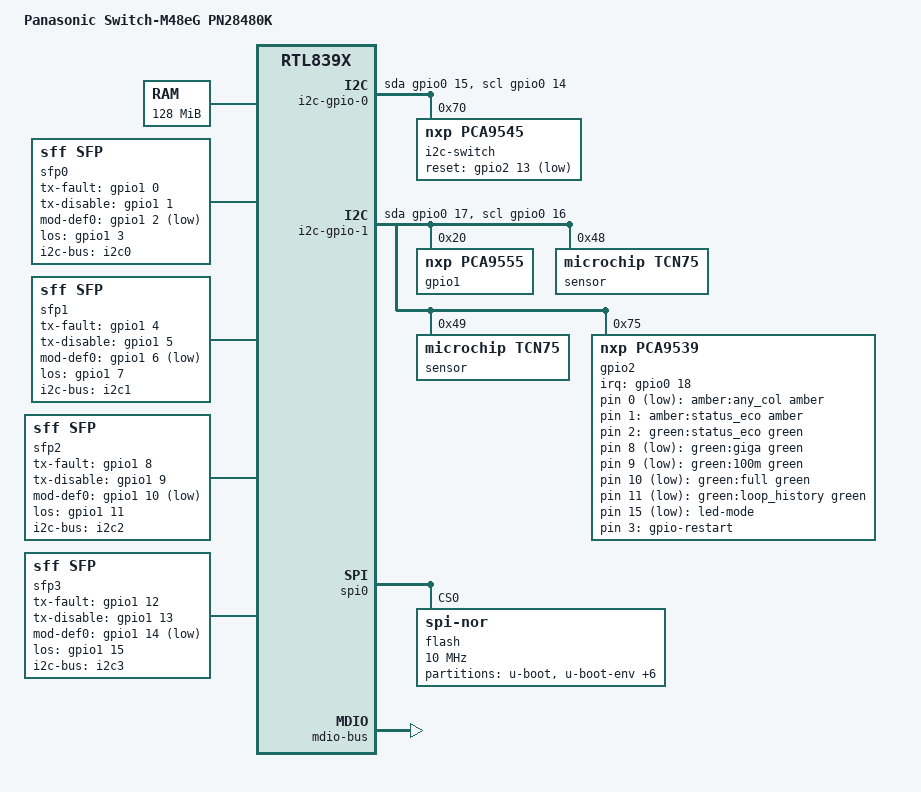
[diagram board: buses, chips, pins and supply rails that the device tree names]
// SPDX-License-Identifier: GPL-2.0-or-later OR MIT

#include "rtl839x.dtsi"

#include <dt-bindings/input/input.h>
#include <dt-bindings/gpio/gpio.h>
#include <dt-bindings/interrupt-controller/irq.h>
#include <dt-bindings/leds/common.h>

/ {
	compatible = "panasonic,m48eg-pn28480k", "realtek,rtl839x-soc";
	model = "Panasonic Switch-M48eG PN28480K";

	aliases {
		led-boot = &led_status_eco_green;
		led-failsafe = &led_status_eco_amber;
		led-running = &led_status_eco_green;
		led-upgrade = &led_status_eco_green;
	};

	chosen {
		bootargs = "console=ttyS0,9600";
	};

	memory@0 {
		device_type = "memory";
		reg = <0x0 0x8000000>;
	};

	leds {
		compatible = "gpio-leds";

		led-0 {
			label = "amber:any_col";
			gpios = <&gpio2 0 GPIO_ACTIVE_LOW>;
			color = <LED_COLOR_ID_AMBER>;
			function = LED_FUNCTION_FAULT;
		};

		led_status_eco_amber: led-1 {
			label = "amber:status_eco";
			gpios = <&gpio2 1 GPIO_ACTIVE_HIGH>;
			color = <LED_COLOR_ID_AMBER>;
			function = LED_FUNCTION_STATUS;
			function-enumerator = <1>;
		};

		led_status_eco_green: led-2 {
			label = "green:status_eco";
			gpios = <&gpio2 2 GPIO_ACTIVE_HIGH>;
			color = <LED_COLOR_ID_GREEN>;
			function = LED_FUNCTION_STATUS;
			function-enumerator = <2>;
		};

		led-3 {
			label = "green:giga";
			gpios = <&gpio2 8 GPIO_ACTIVE_LOW>;
			color = <LED_COLOR_ID_GREEN>;
			function = LED_FUNCTION_INDICATOR;
			function-enumerator = <1>;
		};

		led-4 {
			label = "green:100m";
			gpios = <&gpio2 9 GPIO_ACTIVE_LOW>;
			color = <LED_COLOR_ID_GREEN>;
			function = LED_FUNCTION_INDICATOR;
			function-enumerator = <2>;
		};

		led-5 {
			label = "green:full";
			gpios = <&gpio2 10 GPIO_ACTIVE_LOW>;
			color = <LED_COLOR_ID_GREEN>;
			function = LED_FUNCTION_INDICATOR;
			function-enumerator = <3>;
		};

		led-6 {
			label = "green:loop_history";
			gpios = <&gpio2 11 GPIO_ACTIVE_LOW>;
			color = <LED_COLOR_ID_GREEN>;
			function = LED_FUNCTION_INDICATOR;
			function-enumerator = <4>;
		};
	};

	keys {
		compatible = "gpio-keys";

		led_mode {
			label = "led-mode";
			gpios = <&gpio2 15 GPIO_ACTIVE_LOW>;
			linux,code = <BTN_0>;
		};
	};

	gpio-restart {
		compatible = "gpio-restart";
		gpios = <&gpio2 3 GPIO_ACTIVE_HIGH>;
	};

	/* Switch-M48eG PN28480K has no RTL8231 chip */
	/delete-node/ rtl8231-gpio;

	i2c-gpio-0 {
		compatible = "i2c-gpio";
		scl-gpios = <&gpio0 14 (GPIO_ACTIVE_HIGH | GPIO_OPEN_DRAIN)>;
		sda-gpios = <&gpio0 15 (GPIO_ACTIVE_HIGH | GPIO_OPEN_DRAIN)>;
		i2c-gpio,delay-us = <2>;
		#address-cells = <1>;
		#size-cells = <0>;

		i2c-switch@70 {
			compatible = "nxp,pca9545";
			reset-gpios = <&gpio2 13 GPIO_ACTIVE_LOW>;
			reg = <0x70>;
			#address-cells = <1>;
			#size-cells = <0>;

			/* for port 45 (combo) SFP */
			i2c0: i2c@0 {
				#address-cells = <1>;
				#size-cells = <0>;
				reg = <0>;
			};

			/* for port 46 (combo) SFP */
			i2c1: i2c@1 {
				#address-cells = <1>;
				#size-cells = <0>;
				reg = <1>;
			};

			/* for port 47 (combo) SFP */
			i2c2: i2c@2 {
				#address-cells = <1>;
				#size-cells = <0>;
				reg = <2>;
			};

			/* for port 48 (combo) SFP */
			i2c3: i2c@3 {
				#address-cells = <1>;
				#size-cells = <0>;
				reg = <3>;
			};
		};
	};

	i2c-gpio-1 {
		compatible = "i2c-gpio";
		scl-gpios = <&gpio0 16 (GPIO_ACTIVE_HIGH | GPIO_OPEN_DRAIN)>;
		sda-gpios = <&gpio0 17 (GPIO_ACTIVE_HIGH | GPIO_OPEN_DRAIN)>;
		i2c-gpio,delay-us = <2>;
		#address-cells = <1>;
		#size-cells = <0>;

		gpio1: gpio@20 {
			compatible = "nxp,pca9555";
			reg = <0x20>;
			gpio-controller;
			#gpio-cells = <2>;
		};

		/*
		 * there is no support for TCN75A in Linux Kernel,
		 * use TCN75 support instead
		 * ('A' variant supports resolution setting)
		 */
		/* Microchip TCN75A (near SoC) */
		sensor@48 {
			compatible = "microchip,tcn75";
			reg = <0x48>;
		};

		/* Microchip TCN75A (board, near fan) */
		sensor@49 {
			compatible = "microchip,tcn75";
			reg = <0x49>;
		};

		gpio2: gpio@75 {
			compatible = "nxp,pca9539";
			reg = <0x75>;
			gpio-controller;
			#gpio-cells = <2>;
			interrupt-controller;
			#interrupt-cells = <2>;
			interrupt-parent = <&gpio0>;
			interrupts = <18 IRQ_TYPE_EDGE_FALLING>;

			/* GPIO12 (IO1_4): RTL8218B + RTL8218FB */
			ext_switch_reset {
				gpio-hog;
				gpios = <12 GPIO_ACTIVE_HIGH>;
				output-high;
				line-name = "ext-switch-reset";
			};

			/* GPIO14 (IO1_6): 12x Shift Register (port LED) */
			portled_sregister_reset {
				gpio-hog;
				gpios = <14 GPIO_ACTIVE_HIGH>;
				output-high;
				line-name = "portled-sregister-reset";
			};
		};
	};

	/*
	 * sfp0/1/2/3 are "combo" port with each TP port (45/46/47/48),
	 * and they are connected to the RTL8218FB. Currently, there is
	 * no support for the chip and only TP ports work by the RTL8218D
	 * support.
	 */
	sfp0: sfp-p45 {
		compatible = "sff,sfp";
		i2c-bus = <&i2c0>;
		tx-fault-gpio = <&gpio1 0 GPIO_ACTIVE_HIGH>;
		tx-disable-gpio = <&gpio1 1 GPIO_ACTIVE_HIGH>;
		mod-def0-gpio = <&gpio1 2 GPIO_ACTIVE_LOW>;
		los-gpio = <&gpio1 3 GPIO_ACTIVE_HIGH>;
	};

	sfp1: sfp-p46 {
		compatible = "sff,sfp";
		i2c-bus = <&i2c1>;
		tx-fault-gpio = <&gpio1 4 GPIO_ACTIVE_HIGH>;
		tx-disable-gpio = <&gpio1 5 GPIO_ACTIVE_HIGH>;
		mod-def0-gpio = <&gpio1 6 GPIO_ACTIVE_LOW>;
		los-gpio = <&gpio1 7 GPIO_ACTIVE_HIGH>;
	};

	sfp2: sfp-p47 {
		compatible = "sff,sfp";
		i2c-bus = <&i2c2>;
		tx-fault-gpio = <&gpio1 8 GPIO_ACTIVE_HIGH>;
		tx-disable-gpio = <&gpio1 9 GPIO_ACTIVE_HIGH>;
		mod-def0-gpio = <&gpio1 10 GPIO_ACTIVE_LOW>;
		los-gpio = <&gpio1 11 GPIO_ACTIVE_HIGH>;
	};

	sfp3: sfp-p48 {
		compatible = "sff,sfp";
		i2c-bus = <&i2c3>;
		tx-fault-gpio = <&gpio1 12 GPIO_ACTIVE_HIGH>;
		tx-disable-gpio = <&gpio1 13 GPIO_ACTIVE_HIGH>;
		mod-def0-gpio = <&gpio1 14 GPIO_ACTIVE_LOW>;
		los-gpio = <&gpio1 15 GPIO_ACTIVE_HIGH>;
	};
};

&spi0 {
	status = "okay";

	flash@0 {
		compatible = "jedec,spi-nor";
		reg = <0>;
		spi-max-frequency = <10000000>;

		partitions {
			compatible = "fixed-partitions";
			#address-cells = <1>;
			#size-cells = <1>;

			partition@0 {
				label = "u-boot";
				reg = <0x0 0x80000>;
				read-only;
			};

			partition@80000 {
				label = "u-boot-env";
				reg = <0x80000 0x10000>;
			};

			partition@90000 {
				label = "u-boot-env2";
				reg = <0x90000 0x10000>;
			};

			partition@a0000 {
				label = "sysinfo";
				reg = <0xa0000 0x60000>;
				read-only;
			};

			/*
			 * Filesystem area in stock firmware
			 * (0x100000-0x1DFFFFF)
			 *
			 * stock firmware images are required to pass
			 * the checking by the U-Boot, also for OpenWrt
			 *
			 * in OpenWrt:
			 * - 0x100000-0xDFFFFF (13M): stock images
			 * - 0xE00000-0x1DFFFFF(16M): OpenWrt image
			 */
			partition@100000 {
				label = "fs_reserved";
				reg = <0x100000 0xd00000>;
			};

			partition@e00000 {
				compatible = "denx,uimage";
				label = "firmware";
				reg = <0xe00000 0x1000000>;
			};

			partition@1e00000 {
				label = "vlog_data";
				reg = <0x1e00000 0x100000>;
				read-only;
			};

			partition@1f00000 {
				label = "elog_data";
				reg = <0x1f00000 0x100000>;
				read-only;
			};
		};
	};
};

&ethernet0 {
	mdio-bus {
		compatible = "realtek,rtl838x-mdio";
		regmap = <&ethernet0>;
		#address-cells = <1>;
		#size-cells = <0>;

		EXTERNAL_PHY(0)
		EXTERNAL_PHY(1)
		EXTERNAL_PHY(2)
		EXTERNAL_PHY(3)
		EXTERNAL_PHY(4)
		EXTERNAL_PHY(5)
		EXTERNAL_PHY(6)
		EXTERNAL_PHY(7)

		EXTERNAL_PHY(8)
		EXTERNAL_PHY(9)
		EXTERNAL_PHY(10)
		EXTERNAL_PHY(11)
		EXTERNAL_PHY(12)
		EXTERNAL_PHY(13)
		EXTERNAL_PHY(14)
		EXTERNAL_PHY(15)

		EXTERNAL_PHY(16)
		EXTERNAL_PHY(17)
		EXTERNAL_PHY(18)
		EXTERNAL_PHY(19)
		EXTERNAL_PHY(20)
		EXTERNAL_PHY(21)
		EXTERNAL_PHY(22)
		EXTERNAL_PHY(23)

		EXTERNAL_PHY(24)
		EXTERNAL_PHY(25)
		EXTERNAL_PHY(26)
		EXTERNAL_PHY(27)
		EXTERNAL_PHY(28)
		EXTERNAL_PHY(29)
		EXTERNAL_PHY(30)
		EXTERNAL_PHY(31)

		EXTERNAL_PHY(32)
		EXTERNAL_PHY(33)
		EXTERNAL_PHY(34)
		EXTERNAL_PHY(35)
		EXTERNAL_PHY(36)
		EXTERNAL_PHY(37)
		EXTERNAL_PHY(38)
		EXTERNAL_PHY(39)

		EXTERNAL_PHY(40)
		EXTERNAL_PHY(41)
		EXTERNAL_PHY(42)
		EXTERNAL_PHY(43)
		EXTERNAL_PHY(44)
		EXTERNAL_PHY(45)
		EXTERNAL_PHY(46)
		EXTERNAL_PHY(47)
	};
};

&switch0 {
	ports {
		#address-cells = <1>;
		#size-cells = <0>;

		SWITCH_PORT(0, 1, qsgmii)
		SWITCH_PORT(1, 2, qsgmii)
		SWITCH_PORT(2, 3, qsgmii)
		SWITCH_PORT(3, 4, qsgmii)
		SWITCH_PORT(4, 5, qsgmii)
		SWITCH_PORT(5, 6, qsgmii)
		SWITCH_PORT(6, 7, qsgmii)
		SWITCH_PORT(7, 8, qsgmii)

		SWITCH_PORT(8, 9, qsgmii)
		SWITCH_PORT(9, 10, qsgmii)
		SWITCH_PORT(10, 11, qsgmii)
		SWITCH_PORT(11, 12, qsgmii)
		SWITCH_PORT(12, 13, qsgmii)
		SWITCH_PORT(13, 14, qsgmii)
		SWITCH_PORT(14, 15, qsgmii)
		SWITCH_PORT(15, 16, qsgmii)

		SWITCH_PORT(16, 17, qsgmii)
		SWITCH_PORT(17, 18, qsgmii)
		SWITCH_PORT(18, 19, qsgmii)
		SWITCH_PORT(19, 20, qsgmii)
		SWITCH_PORT(20, 21, qsgmii)
		SWITCH_PORT(21, 22, qsgmii)
		SWITCH_PORT(22, 23, qsgmii)
		SWITCH_PORT(23, 24, qsgmii)

		SWITCH_PORT(24, 25, qsgmii)
		SWITCH_PORT(25, 26, qsgmii)
		SWITCH_PORT(26, 27, qsgmii)
		SWITCH_PORT(27, 28, qsgmii)
		SWITCH_PORT(28, 29, qsgmii)
		SWITCH_PORT(29, 30, qsgmii)
		SWITCH_PORT(30, 31, qsgmii)
		SWITCH_PORT(31, 32, qsgmii)

		SWITCH_PORT(32, 33, qsgmii)
		SWITCH_PORT(33, 34, qsgmii)
		SWITCH_PORT(34, 35, qsgmii)
		SWITCH_PORT(35, 36, qsgmii)
		SWITCH_PORT(36, 37, qsgmii)
		SWITCH_PORT(37, 38, qsgmii)
		SWITCH_PORT(38, 39, qsgmii)
		SWITCH_PORT(39, 40, qsgmii)

		SWITCH_PORT(40, 41, qsgmii)
		SWITCH_PORT(41, 42, qsgmii)
		SWITCH_PORT(42, 43, qsgmii)
		SWITCH_PORT(43, 44, qsgmii)
		SWITCH_PORT(44, 45, qsgmii)
		SWITCH_PORT(45, 46, qsgmii)
		SWITCH_PORT(46, 47, qsgmii)
		SWITCH_PORT(47, 48, qsgmii)

		port@52 {
			ethernet = <&ethernet0>;
			reg = <52>;
			phy-mode = "internal";

			fixed-link {
				speed = <1000>;
				full-duplex;
			};
		};
	};
};
